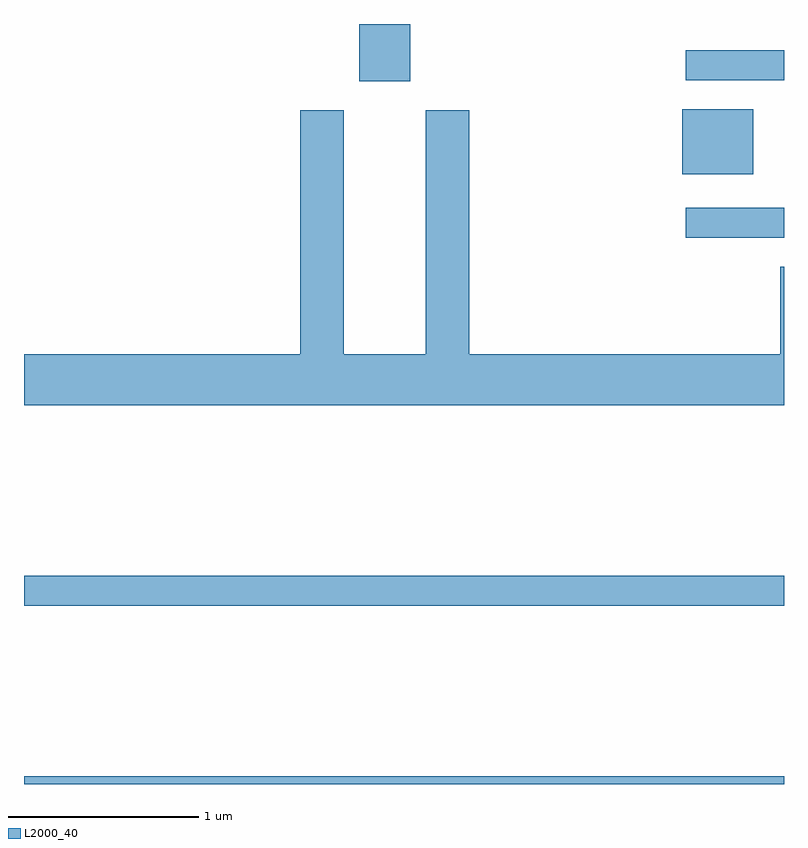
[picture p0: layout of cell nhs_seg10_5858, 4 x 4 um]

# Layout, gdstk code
import gdstk
lib = gdstk.Library(unit=1e-6, precision=1e-09)
def R(c, l, rs):  # rectangles x0, y0, x1, y1
    for r in rs: c.add(gdstk.rectangle(r[:2], r[2:], *l))
def P(c, l, *ps):  # polygons
    for p in ps: c.add(gdstk.Polygon(p, *l))
L2000_40 = (2000, 40)

nhs_seg10_5858 = lib.new_cell('nhs_seg10_5858')
R(nhs_seg10_5858, L2000_40, [(357.611,2178.522,361.611,2178.564), (357.611,2179.461,361.611,2179.619), (361.093,2181.396,361.611,2181.554), (361.076,2181.731,361.449,2182.074), (359.376,2182.221,359.644,2182.522), (361.093,2182.226,361.611,2182.384)])
P(nhs_seg10_5858, L2000_40, [(361.611,2181.244),(361.591,2181.244),(361.591,2180.784),(359.954,2180.784),(359.954,2182.069),(359.726,2182.069),(359.726,2180.784),(359.294,2180.784),(359.294,2182.069),(359.066,2182.069),(359.066,2180.784),(357.611,2180.784),(357.611,2180.516),(361.611,2180.516)])

lib.write_gds('nhs_seg10_5858.gds')
